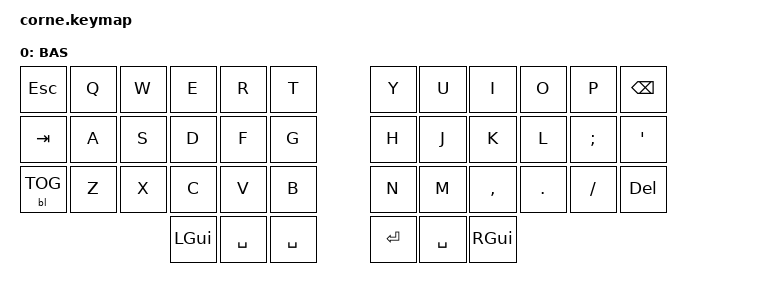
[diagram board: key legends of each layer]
#include <boards/shields/corne/corne.dtsi>
#include <behaviors.dtsi>
#include <dt-bindings/zmk/backlight.h>
#include <dt-bindings/zmk/keys.h>

/ {
    macros {
        osirisortiz: osirisortiz {
            compatible = "zmk,behavior-macro";
            #binding-cells = <0>;
            bindings = <&none &kp O &kp S &kp I &kp R &kp I &kp S &kp O &kp R &kp T &kp I &kp Z>;
            label = "OSIRISORTIZ";
        };
    };

    keymap {
        compatible = "zmk,keymap";

        BAS {
            bindings = <
&kp ESC     &kp Q  &kp W  &kp E         &kp R      &kp T        &kp Y      &kp U      &kp I          &kp O    &kp P     &kp BSPC
&kp TAB     &kp A  &kp S  &kp D         &kp F      &kp G        &kp H      &kp J      &kp K          &kp L    &kp SEMI  &kp SINGLE_QUOTE
&bl BL_TOG  &kp Z  &kp X  &kp C         &kp V      &kp B        &kp N      &kp M      &kp COMMA      &kp DOT  &kp FSLH  &kp DELETE
                          &kp LEFT_GUI  &kp SPACE  &kp SPACE    &kp ENTER  &kp SPACE  &kp RIGHT_GUI
            >;
        };
    };
};
